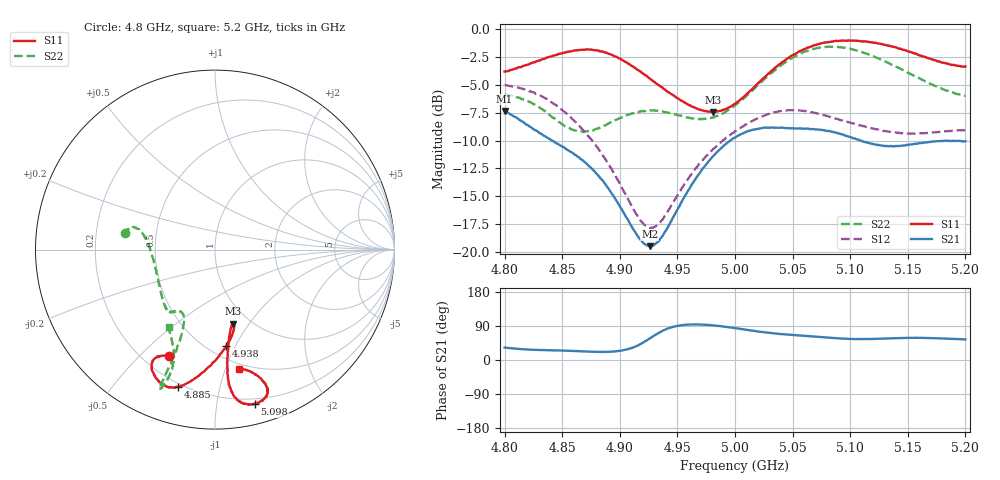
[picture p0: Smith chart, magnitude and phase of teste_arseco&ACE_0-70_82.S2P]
! Network Analyzer HP8722D
! Hewlett-Packard
! Data name: Linha & Wilkinson
! Saver's name: Rodrigo Anjos
! Comments: Teste da utilização de aquisição
! continua pelo VNA HP8722D
! Time and date: 8/5/2025 13:26
!  Frequency  S11  S21  S12  S22
# HZ  S  MA R 50
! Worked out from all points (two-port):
!   401 points, 4.8 GHz to 5.2 GHz, reference 50 ohm
!   highest |S21| = -7.36 dB at 4.8 GHz (marker M1); lowest = -19.5 dB at 4.926 GHz (marker M2)
!   |S21| within 3 dB of the highest: start of sweep to 4.847 GHz; 4.991 GHz to 5.122 GHz (130.7 MHz wide, 2.58 % of centre) (the widest 2 of 3)
!   lowest |S11| = -7.4 dB at 4.981 GHz (marker M3), VSWR 2.48, Z = 41.7 - j42.2 ohm
!   |S11| at or under -10 dB: nowhere
!   |S22| runs from -9.2 to -1.6 dB; largest |S21 - S12| = 0.57
!   S11 on the Smith chart (normalised r, x): 4.8 GHz: 0.30, -0.61; 4.885 GHz: 0.18, -0.75; 4.938 GHz: 0.61, -0.92; 5.098 GHz: 0.16, -1.28; 5.2 GHz: 0.45, -1.12
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4.8e9  0.6447 -113.4  0.4287 32.8  0.5616 63.1  0.5087 169.8
4.816e9  0.6833 -118.5  0.3834 28.5  0.5391 61.6  0.4844 165.3
4.832e9  0.7297 -118.9  0.3386 26.4  0.4994 59.6  0.4387 164.9
4.849e9  0.7771 -115.9  0.2995 24.9  0.4384 59.1  0.3769 174.0
4.867e9  0.8066 -110.6  0.2594 23.0  0.3577 60.9  0.3476 -167.3
4.885e9  0.7928 -105.1  0.2098 21.5  0.2727 64.8  0.3667 -148.6
4.899e9  0.7404 -100.1  0.1641 23.7  0.2072 71.9  0.3955 -137.9
4.916e9  0.6546 -93.0  0.117 38.8  0.1435 91.9  0.4244 -130.2
4.926e9  0.6 -88.4  0.1064 57.0  0.1284 112.1  0.4323 -127.4
4.934e9  0.5596 -84.9  0.1123 71.8  0.1346 128.6  0.428 -125.9
4.938e9  0.5399 -83.4  0.1202 78.3  0.1423 135.5  0.4262 -125.0
4.961e9  0.4556 -76.6  0.1944 93.7  0.2194 154.5  0.3998 -121.1
4.981e9  0.4254 -76.4  0.269 91.4  0.2895 157.1  0.4014 -116.3
5e9  0.4624 -79.5  0.3267 84.1  0.3481 157.0  0.4553 -112.6
5.036e9  0.6776 -83.9  0.3613 69.6  0.4252 154.5  0.6634 -111.1
5.067e9  0.8368 -81.9  0.3564 62.4  0.4239 153.0  0.8112 -111.8
5.098e9  0.8888 -75.5  0.3308 55.9  0.3829 155.5  0.8197 -111.0
5.118e9  0.8728 -71.5  0.3066 55.6  0.3596 158.6  0.7614 -110.0
5.134e9  0.8426 -69.5  0.2985 57.1  0.3461 161.6  0.7015 -109.8
5.158e9  0.771 -70.2  0.306 58.5  0.3404 166.5  0.6081 -112.2
5.182e9  0.7042 -74.2  0.3157 56.6  0.3477 170.6  0.5336 -117.9
5.2e9  0.6797 -78.5  0.3141 54.5  0.3526 172.5  0.5022 -120.9
